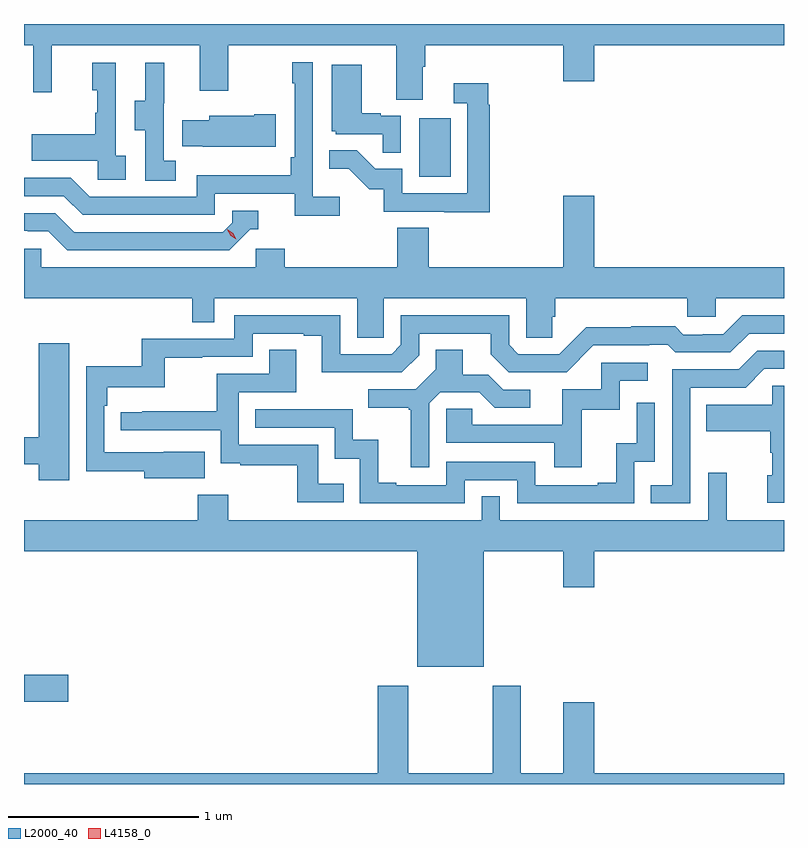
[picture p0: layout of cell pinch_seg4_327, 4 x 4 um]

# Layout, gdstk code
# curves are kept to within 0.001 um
import gdstk
lib = gdstk.Library(unit=1e-6, precision=1e-09)
def R(c, l, rs):  # rectangles x0, y0, x1, y1
    for r in rs: c.add(gdstk.rectangle(r[:2], r[2:], *l))
def P(c, l, *ps):  # polygons
    for p in ps: c.add(gdstk.Polygon(p, *l))
L2000_40 = (2000, 40)
L4158_0 = (4158, 0)

pinch_seg4_327 = lib.new_cell('pinch_seg4_327')
R(pinch_seg4_327, L2000_40, [(1001.331,808.018,1001.563,808.16), (1003.412,810.78,1003.576,811.087)])
P(pinch_seg4_327, L2000_40, [(1003.429,811.36),(1003.442,811.36),(1003.442,811.472),(1004.168,811.472),(1004.168,811.284),(1004.332,811.284),(1004.332,811.472),(1005.331,811.472),(1005.331,811.584),(1001.331,811.584),(1001.331,811.472),(1001.379,811.472),(1001.379,811.224),(1001.477,811.224),(1001.477,811.472),(1002.257,811.472),(1002.257,811.233),(1002.405,811.233),(1002.405,811.472),(1003.289,811.472),(1003.289,811.186),(1003.429,811.186)],
  [(1002.994,810.676),(1002.852,810.676),(1002.852,811.384),(1002.744,811.384),(1002.744,811.271),(1002.756,811.271),(1002.756,810.883),(1002.736,810.883),(1002.736,810.787),(1002.24,810.787),(1002.24,810.675),(1001.676,810.675),(1001.577,810.774),(1001.331,810.774),(1001.331,810.678),(1001.54,810.678),(1001.639,810.579),(1002.336,810.579),(1002.336,810.69),(1002.755,810.69),(1002.755,810.574),(1002.994,810.574)],
  [(1001.866,810.89),(1001.814,810.89),(1001.814,811.381),(1001.69,811.381),(1001.69,811.236),(1001.716,811.236),(1001.716,811.118),(1001.706,811.118),(1001.706,811.003),(1001.371,811.003),(1001.371,810.863),(1001.718,810.863),(1001.718,810.765),(1001.866,810.765)],
  [(1002.13,810.863),(1002.066,810.863),(1002.066,811.167),(1002.068,811.167),(1002.068,811.381),(1001.969,811.381),(1001.969,811.179),(1001.915,811.179),(1001.915,811.024),(1001.97,811.024),(1001.97,810.76),(1002.13,810.76)],
  [(1003.314,811.101),(1003.208,811.101),(1003.208,811.114),(1003.108,811.114),(1003.108,811.369),(1002.95,811.369),(1002.95,811.02),(1002.972,811.02),(1002.972,811.005),(1003.219,811.005),(1003.219,810.907),(1003.314,810.907)],
  [(1003.781,811.16),(1003.774,811.16),(1003.774,811.273),(1003.593,811.273),(1003.593,811.167),(1003.665,811.167),(1003.665,810.693),(1003.323,810.693),(1003.323,810.822),(1003.179,810.822),(1003.081,810.92),(1002.937,810.92),(1002.937,810.821),(1003.041,810.821),(1003.148,810.714),(1003.225,810.714),(1003.225,810.597),(1003.543,810.597),(1003.543,810.592),(1003.781,810.592)],
  [(1002.655,811.11),(1002.542,811.11),(1002.542,811.102),(1002.306,811.102),(1002.306,811.078),(1002.163,811.078),(1002.163,810.941),(1002.271,810.941),(1002.271,810.938),(1002.655,810.938)],
  [(1003.224,810.14),(1003.974,810.14),(1003.974,809.932),(1004.111,809.932),(1004.111,810.042),(1004.126,810.042),(1004.126,810.14),(1004.823,810.14),(1004.823,810.042),(1004.973,810.042),(1004.973,810.14),(1005.331,810.14),(1005.331,810.304),(1004.332,810.304),(1004.332,810.679),(1004.168,810.679),(1004.168,810.304),(1003.46,810.304),(1003.46,810.512),(1003.295,810.512),(1003.295,810.304),(1002.704,810.304),(1002.704,810.402),(1002.552,810.402),(1002.552,810.304),(1001.421,810.304),(1001.421,810.402),(1001.331,810.402),(1001.331,810.14),(1002.217,810.14),(1002.217,810.013),(1002.333,810.013),(1002.333,810.14),(1003.085,810.14),(1003.085,809.932),(1003.224,809.932)],
  [(1002.522,810.504),(1002.565,810.504),(1002.565,810.6),(1002.426,810.6),(1002.426,810.537),(1002.378,810.489),(1001.595,810.489),(1001.496,810.588),(1001.331,810.588),(1001.331,810.495),(1001.352,810.495),(1001.352,810.492),(1001.459,810.492),(1001.558,810.393),(1002.411,810.393)],
  [(1002.281,809.332),(1001.754,809.331),(1001.754,809.576),(1001.768,809.576),(1001.768,809.672),(1002.073,809.672),(1002.073,809.827),(1002.269,809.827),(1002.269,809.832),(1002.534,809.832),(1002.534,809.955),(1002.803,809.955),(1002.803,809.943),(1002.899,809.943),(1002.899,809.75),(1003.32,809.751),(1003.41,809.841),(1003.41,809.955),(1003.787,809.955),(1003.787,809.845),(1003.881,809.751),(1004.187,809.751),(1004.328,809.892),(1004.621,809.892),(1004.621,809.895),(1004.72,809.895),(1004.759,809.856),(1005.048,809.856),(1005.147,809.955),(1005.331,809.955),(1005.331,810.051),(1005.11,810.051),(1005.011,809.952),(1004.904,809.952),(1004.904,809.949),(1004.801,809.949),(1004.759,809.992),(1004.526,809.992),(1004.526,809.989),(1004.29,809.989),(1004.148,809.847),(1003.932,809.847),(1003.884,809.895),(1003.884,810.051),(1003.314,810.051),(1003.314,809.895),(1003.266,809.847),(1002.996,809.847),(1002.996,810.051),(1002.438,810.051),(1002.438,809.928),(1001.952,809.928),(1001.952,809.782),(1001.658,809.782),(1001.658,809.23),(1001.963,809.23),(1001.963,809.192),(1002.281,809.192)],
  [(1001.569,809.905),(1001.408,809.905),(1001.408,809.408),(1001.331,809.408),(1001.331,809.266),(1001.408,809.266),(1001.408,809.184),(1001.569,809.184)],
  [(1003.013,809.164),(1002.879,809.164),(1002.879,809.37),(1002.462,809.37),(1002.462,809.646),(1002.763,809.646),(1002.763,809.87),(1002.623,809.87),(1002.623,809.742),(1002.346,809.742),(1002.346,809.546),(1001.953,809.546),(1001.953,809.541),(1001.841,809.541),(1001.841,809.445),(1002.366,809.445),(1002.366,809.273),(1002.469,809.273),(1002.469,809.262),(1002.768,809.262),(1002.768,809.067),(1003.013,809.067)],
  [(1003.464,809.589),(1003.521,809.646),(1003.727,809.646),(1003.808,809.565),(1003.996,809.565),(1003.996,809.658),(1003.854,809.658),(1003.774,809.738),(1003.639,809.738),(1003.639,809.87),(1003.499,809.87),(1003.499,809.768),(1003.392,809.661),(1003.143,809.661),(1003.143,809.564),(1003.356,809.564),(1003.356,809.553),(1003.367,809.553),(1003.367,809.25),(1003.464,809.25)],
  [(1004.838,809.67),(1005.129,809.67),(1005.228,809.769),(1005.331,809.769),(1005.331,809.865),(1005.191,809.865),(1005.092,809.766),(1004.742,809.766),(1004.742,809.157),(1004.629,809.157),(1004.629,809.061),(1004.838,809.061)],
  [(1004.267,809.553),(1004.466,809.553),(1004.466,809.706),(1004.614,809.706),(1004.614,809.802),(1004.37,809.802),(1004.37,809.661),(1004.165,809.661),(1004.165,809.475),(1003.691,809.475),(1003.691,809.559),(1003.554,809.559),(1003.554,809.379),(1004.123,809.379),(1004.123,809.25),(1004.267,809.25)],
  [(1005.331,809.679),(1005.27,809.679),(1005.27,809.581),(1004.923,809.581),(1004.923,809.441),(1005.258,809.441),(1005.258,809.327),(1005.268,809.327),(1005.268,809.208),(1005.242,809.208),(1005.242,809.064),(1005.331,809.064)],
  [(1003.65,809.184),(1003.926,809.184),(1003.926,809.061),(1004.544,809.061),(1004.544,809.28),(1004.652,809.28),(1004.652,809.59),(1004.556,809.59),(1004.556,809.378),(1004.447,809.378),(1004.447,809.17),(1004.351,809.17),(1004.351,809.157),(1004.022,809.157),(1004.022,809.28),(1003.554,809.28),(1003.554,809.157),(1003.291,809.157),(1003.291,809.17),(1003.195,809.17),(1003.195,809.395),(1003.062,809.395),(1003.062,809.556),(1002.547,809.556),(1002.547,809.46),(1002.966,809.46),(1002.966,809.297),(1003.098,809.297),(1003.098,809.061),(1003.65,809.061)],
  [(1003.75,808.808),(1004.168,808.808),(1004.168,808.62),(1004.332,808.62),(1004.332,808.808),(1005.331,808.808),(1005.331,808.972),(1005.029,808.972),(1005.029,809.221),(1004.931,809.221),(1004.931,808.972),(1003.836,808.972),(1003.836,809.099),(1003.74,809.099),(1003.74,808.972),(1002.405,808.972),(1002.405,809.107),(1002.245,809.107),(1002.245,808.972),(1001.331,808.972),(1001.331,808.808),(1003.4,808.808),(1003.4,808.202),(1003.75,808.202)],
  [(1005.331,807.64),(1004.332,807.64),(1004.332,808.015),(1004.168,808.015),(1004.168,807.64),(1003.945,807.64),(1003.945,808.102),(1003.798,808.102),(1003.798,807.64),(1003.353,807.64),(1003.353,808.102),(1003.193,808.102),(1003.193,807.64),(1001.331,807.64),(1001.331,807.584),(1005.331,807.584)])
P(pinch_seg4_327, L4158_0, [(1002.449,810.451),(1002.418,810.47),(1002.401,810.502),(1002.401,810.503),(1002.402,810.503),(1002.433,810.484),(1002.449,810.451),(1002.449,810.451)])

lib.write_gds('pinch_seg4_327.gds')
